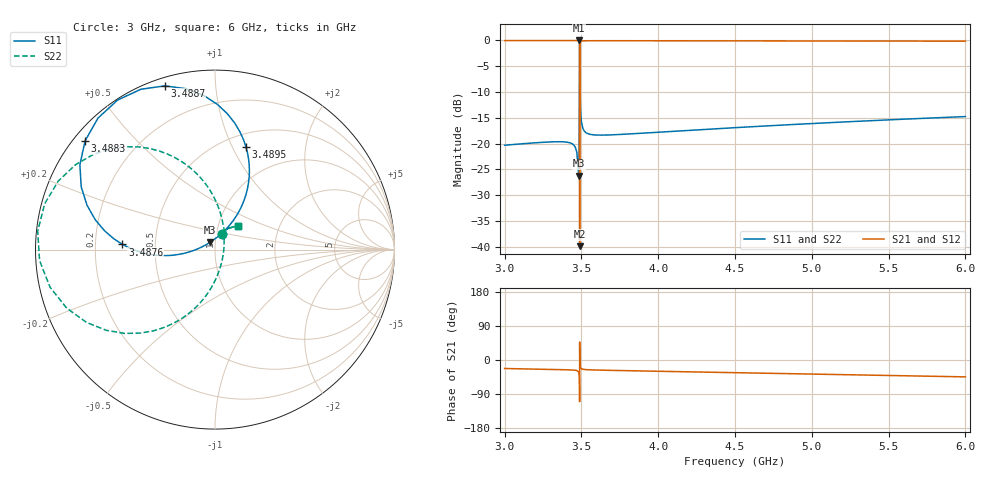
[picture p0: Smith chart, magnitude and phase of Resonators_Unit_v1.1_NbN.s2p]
! Sonnet Data File
! From: emgraph Version : 14.52
! From Emgraph Data: Resonators_Unit_v1.1_NbN
! Data File Written: 05/17/2020 10:05:46
!< HDATE 05/16/2020 03:26:38
!< MDATE 05/16/2020 04:55:45
# GHZ S MA R 50.00000
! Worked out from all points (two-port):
!   499 points, 3 GHz to 6 GHz, reference 50 ohm
!   highest |S21| = -0.01 dB at 3.4822 GHz (marker M1); lowest = -39.9 dB at 3.4885 GHz (marker M2)
!   |S21| within 3 dB of the highest: start of sweep to 3.4879 GHz; 3.4892 GHz to end of sweep
!   lowest |S11| = -26.2 dB at 3.4823 GHz (marker M3), VSWR 1.10, Z = 47.2 + j3.86 ohm
!   |S11| at or under -10 dB: start of sweep to 3.487 GHz; 3.4913 GHz to end of sweep
!   |S22| runs from -26.2 to -0.1 dB; largest |S21 - S12| = 4.7e-11
!   S11 on the Smith chart (normalised r, x): 3 GHz: 1.06, +0.19; 3.4876 GHz: 0.32, +0.02; 3.4883 GHz: 0.03, +0.36; 3.4887 GHz: 0.04, +0.74; 3.4895 GHz: 0.64, +1.13; 6 GHz: 1.24, +0.34
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3  0.0966 67.9  0.9953 -22.5  0.9953 -22.5  0.0966 67.1
!< P1 F=3.0 Eeff=(10.6478139 -2.1397e-5) Z0=(62.9273972 -4.2679e-5) R=0.0 C=0.0
!< P2 F=3.0 Eeff=(10.6478139 -2.1397e-5) Z0=(62.9273972 -4.2679e-5) R=0.0 C=0.0
3.43  0.1014 66.6  0.9948 -26.2  0.9948 -26.2  0.1014 61.0
3.48  0.05582 95.3  0.9984 -30.2  0.9984 -30.2  0.05584 24.3
3.4822  0.04889 121.6  0.9987 -31.7  0.9987 -31.7  0.04885 -5.0
3.4823  0.04889 123.4  0.9987 -31.8  0.9987 -31.8  0.04884 -7.0
3.4848  0.08508 173.6  0.9962 -35.8  0.9962 -35.8  0.08484 -65.3
3.4866  0.2311 -172.4  0.9723 -44.9  0.9723 -44.9  0.2306 -97.6
3.4876  0.5162 176.8  0.8541 -62.8  0.8541 -62.8  0.5154 -122.9
3.4881  0.8237 154.8  0.5593 -87.2  0.5593 -87.2  0.8225 -150.4
3.4882  0.889 147.9  0.4471 -94.5  0.4471 -94.5  0.8877 -158.4
3.4883  0.9438 140.1  0.3139 -102.4  0.3139 -102.4  0.9424 -167.1
3.4885  0.9944 123.1  0.01017 -83.8  0.01017 -83.8  0.993 174.1
3.4887  0.9542 107.1  0.2826 40.6  0.2826 40.6  0.9529 156.4
3.4889  0.8611 94.2  0.5011 27.5  0.5011 27.5  0.86 141.9
3.4895  0.5966 73.2  0.8006 4.7  0.8006 4.7  0.5959 116.6
3.492  0.2777 58.3  0.9605 -16.0  0.9605 -16.0  0.2775 89.7
3.5  0.1634 58.8  0.9865 -23.0  0.9865 -23.0  0.1633 75.2
4  0.1291 60.2  0.9916 -29.7  0.9916 -29.7  0.1291 60.3
4.5  0.1429 56.6  0.9896 -33.5  0.9896 -33.5  0.1429 56.4
5  0.1567 52.9  0.9875 -37.2  0.9875 -37.2  0.1567 52.6
5.5  0.17 49.3  0.9853 -40.9  0.9853 -40.9  0.1701 48.9
6  0.183 45.7  0.983 -44.5  0.983 -44.5  0.183 45.2
